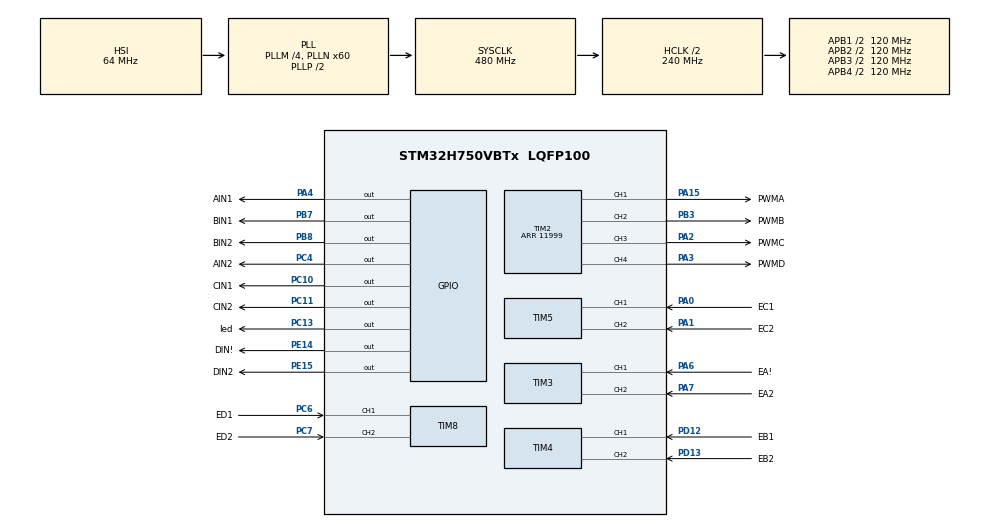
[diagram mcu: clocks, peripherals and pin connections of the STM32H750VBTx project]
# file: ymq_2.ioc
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CORTEX_M7.default_mode_Activation=1
Mcu.Family=STM32H7
Mcu.Name=STM32H750VBTx
Mcu.Package=LQFP100
NVIC.PriorityGroup=NVIC_PRIORITYGROUP_4
PA0.GPIO_Label=EC1
PA0.GPIO_PuPd=GPIO_PULLUP
PA0.Signal=S_TIM5_CH1
PA1.GPIO_Label=EC2
PA1.GPIO_PuPd=GPIO_PULLUP
PA1.Signal=S_TIM5_CH2
PA13\ (JTMS/SWDIO).Mode=Serial_Wire
PA13\ (JTMS/SWDIO).Signal=DEBUG_JTMS-SWDIO
PA14\ (JTCK/SWCLK).Mode=Serial_Wire
PA14\ (JTCK/SWCLK).Signal=DEBUG_JTCK-SWCLK
PA15\ (JTDI).GPIO_Label=PWMA
PA15\ (JTDI).Signal=S_TIM2_CH1_ETR
PA2.GPIO_Label=PWMC
PA2.Signal=S_TIM2_CH3
PA3.GPIO_Label=PWMD
PA3.Signal=S_TIM2_CH4
PA4.GPIO_Label=AIN1
PA4.Signal=GPIO_Output
PA6.GPIO_Label=EA\!
PA6.GPIO_PuPd=GPIO_PULLUP
PA6.Signal=S_TIM3_CH1
PA7.GPIO_Label=EA2
PA7.GPIO_PuPd=GPIO_PULLUP
PA7.Signal=S_TIM3_CH2
PB3\ (JTDO/TRACESWO).GPIO_Label=PWMB
PB3\ (JTDO/TRACESWO).Signal=S_TIM2_CH2
PB7.GPIO_Label=BIN1
PB7.Signal=GPIO_Output
PB8.GPIO_Label=BIN2
PB8.Signal=GPIO_Output
PC10.GPIO_Label=CIN1
PC10.Signal=GPIO_Output
PC11.GPIO_Label=CIN2
PC11.Signal=GPIO_Output
PC13.GPIO_Label=led
PC13.Signal=GPIO_Output
PC4.GPIO_Label=AIN2
PC4.Signal=GPIO_Output
PC6.GPIO_Label=ED1
PC6.GPIO_PuPd=GPIO_PULLUP
PC6.Signal=S_TIM8_CH1
PC7.GPIO_Label=ED2
PC7.GPIO_PuPd=GPIO_PULLUP
PC7.Signal=S_TIM8_CH2
PD12.GPIO_Label=EB1
PD12.GPIO_PuPd=GPIO_PULLUP
PD12.Signal=S_TIM4_CH1
PD13.GPIO_Label=EB2
PD13.GPIO_PuPd=GPIO_PULLUP
PD13.Signal=S_TIM4_CH2
PE14.GPIO_Label=DIN\!
PE14.Signal=GPIO_Output
PE15.GPIO_Label=DIN2
PE15.Signal=GPIO_Output
PH0-OSC_IN\ (PH0).Mode=HSE-External-Oscillator
PH0-OSC_IN\ (PH0).Signal=RCC_OSC_IN
PH1-OSC_OUT\ (PH1).Mode=HSE-External-Oscillator
PH1-OSC_OUT\ (PH1).Signal=RCC_OSC_OUT
ProjectManager.HeapSize=0x200
ProjectManager.StackSize=0x400
ProjectManager.TargetToolchain=MDK-ARM V5.32
RCC.ADCFreq_Value=129000000
RCC.APB1Freq_Value=120000000
RCC.APB2Freq_Value=120000000
RCC.APB3Freq_Value=120000000
RCC.APB4Freq_Value=120000000
RCC.CortexFreq_Value=480000000
RCC.D1PPRE=RCC_APB3_DIV2
RCC.D2PPRE1=RCC_APB1_DIV2
RCC.D2PPRE2=RCC_APB2_DIV2
RCC.D3PPRE=RCC_APB4_DIV2
RCC.DIVM1=4
RCC.DIVN1=60
RCC.HCLKFreq_Value=240000000
RCC.HPRE=RCC_HCLK_DIV2
RCC.HSE_VALUE=8000000
RCC.PLLFRACN=0
RCC.SYSCLKFreq_VALUE=480000000
RCC.SYSCLKSource=RCC_SYSCLKSOURCE_PLLCLK
RCC.USBFreq_Value=480000000
SH.S_TIM2_CH1_ETR.0=TIM2_CH1,PWM Generation1 CH1
SH.S_TIM2_CH2.0=TIM2_CH2,PWM Generation2 CH2
SH.S_TIM2_CH3.0=TIM2_CH3,PWM Generation3 CH3
SH.S_TIM2_CH4.0=TIM2_CH4,PWM Generation4 CH4
SH.S_TIM3_CH1.0=TIM3_CH1,Encoder_Interface
SH.S_TIM3_CH2.0=TIM3_CH2,Encoder_Interface
SH.S_TIM4_CH1.0=TIM4_CH1,Encoder_Interface
SH.S_TIM4_CH2.0=TIM4_CH2,Encoder_Interface
SH.S_TIM5_CH1.0=TIM5_CH1,Encoder_Interface
SH.S_TIM5_CH2.0=TIM5_CH2,Encoder_Interface
SH.S_TIM8_CH1.0=TIM8_CH1,Encoder_Interface
SH.S_TIM8_CH2.0=TIM8_CH2,Encoder_Interface
TIM2.Channel-PWM\ Generation1\ CH1=TIM_CHANNEL_1
TIM2.Channel-PWM\ Generation2\ CH2=TIM_CHANNEL_2
TIM2.Channel-PWM\ Generation3\ CH3=TIM_CHANNEL_3
TIM2.Channel-PWM\ Generation4\ CH4=TIM_CHANNEL_4
TIM2.Period=11999
TIM3.EncoderMode=TIM_ENCODERMODE_TI12
TIM3.IC1Filter=15
TIM3.IC2Filter=15
TIM4.EncoderMode=TIM_ENCODERMODE_TI12
TIM4.IC1Filter=15
TIM4.IC2Filter=15
TIM5.EncoderMode=TIM_ENCODERMODE_TI12
TIM5.IC1Filter=15
TIM5.IC2Filter=15
TIM8.EncoderMode=TIM_ENCODERMODE_TI12
TIM8.IC1Filter=15
TIM8.IC2Filter=15
VP_MEMORYMAP_VS_MEMORYMAP.Mode=CurAppReg
VP_TIM2_VS_ClockSourceINT.Mode=Internal
board=custom

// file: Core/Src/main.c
/* USER CODE BEGIN Header */
/**
  ******************************************************************************
  * @file           : main.c
  * @brief          : Main program body
  ******************************************************************************
  * @attention
  *
  * Copyright (c) 2026 STMicroelectronics.
  * All rights reserved.
  *
  * This software is licensed under terms that can be found in the LICENSE file
  * in the root directory of this software component.
  * If no LICENSE file comes with this software, it is provided AS-IS.
  *
  ******************************************************************************
  */
/* USER CODE END Header */
#include "main.h"
#include "memorymap.h"
#include "tim.h"
#include "gpio.h"

/* USER CODE BEGIN Includes */
#include "mecanum_motor.h"
#include "mecanum_pid.h"
#include "mecanum_kinematics.h"
/* USER CODE END Includes */

/* USER CODE BEGIN PV */
/* 编码器累计值（各轮，有符号） */
static int16_t g_encoder_acc[4]    = {0};
/* 每个控制周期编码器增量 */
static int16_t g_encoder_delta[4]  = {0};
/* 逆运动学输出：各轮目标增量 */
static int16_t g_encoder_target[4] = {0};
/* 里程计：{x(mm), y(mm), yaw(mrad), vx, vy, w} */
static int16_t g_odom[6]           = {0};
/* 目标速度：{vx(mm/s), vy(mm/s), w(mrad/s)} */
int16_t g_target_speed[3]          = {0};
/* USER CODE END PV */

void SystemClock_Config(void);
static void MPU_Config(void);
/* USER CODE BEGIN PFP */
static void MecanumControl_50Hz(void);
/* USER CODE END PFP */

int main(void)
{

  /* MPU Configuration--------------------------------------------------------*/
  MPU_Config();

  /* MCU Configuration--------------------------------------------------------*/

  /* Reset of all peripherals, Initializes the Flash interface and the Systick. */
  HAL_Init();

  /* Configure the system clock */
  SystemClock_Config();

  /* Initialize all configured peripherals */
  MX_GPIO_Init();
  MX_TIM2_Init();
  MX_TIM3_Init();
  MX_TIM4_Init();
  MX_TIM5_Init();
  MX_TIM8_Init();
  /* USER CODE BEGIN 2 */
  Motor_Init();
  Kinematics_Init();
g_target_speed[0] = -500;
  /* 启动编码器定时器，并立即将计数器置为中值，避免第一帧读出 -32768 导致猛冲 */
  HAL_TIM_Encoder_Start(&htim3, TIM_CHANNEL_ALL);
  HAL_TIM_Encoder_Start(&htim4, TIM_CHANNEL_ALL);
  HAL_TIM_Encoder_Start(&htim5, TIM_CHANNEL_ALL);
  HAL_TIM_Encoder_Start(&htim8, TIM_CHANNEL_ALL);
  __HAL_TIM_SET_COUNTER(&htim3, 32768);
  __HAL_TIM_SET_COUNTER(&htim4, 32768);
  __HAL_TIM_SET_COUNTER(&htim5, 32768);
  __HAL_TIM_SET_COUNTER(&htim8, 32768);
  /* USER CODE END 2 */

  /* Infinite loop */
  /* USER CODE BEGIN WHILE */
  uint32_t last_ctrl_tick = 0;   /* 50Hz 控制节拍 */
  uint32_t last_led_tick  = 0;   /* LED 闪烁节拍 */

  while (1)
  {
    /* USER CODE END WHILE */

    /* USER CODE BEGIN 3 */
    uint32_t now = HAL_GetTick();

    /* 50Hz 麦轮控制循环（每 20ms 执行一次） */
    if (now - last_ctrl_tick >= 20) {
      last_ctrl_tick = now;
      MecanumControl_50Hz();
    }

    /* LED 500ms 翻转闪烁（低电平亮，PC13）
     * 作为看门狗指示：LED 持续闪烁说明主循环未卡死 */
    if (now - last_led_tick >= 500) {
      last_led_tick = now;
      HAL_GPIO_TogglePin(led_GPIO_Port, led_Pin);
    }
  }
  /* USER CODE END 3 */
}

void SystemClock_Config(void)
{
  RCC_OscInitTypeDef RCC_OscInitStruct = {0};
  RCC_ClkInitTypeDef RCC_ClkInitStruct = {0};

  /** Supply configuration update enable
  */
  HAL_PWREx_ConfigSupply(PWR_LDO_SUPPLY);

  /** Configure the main internal regulator output voltage
  */
  __HAL_PWR_VOLTAGESCALING_CONFIG(PWR_REGULATOR_VOLTAGE_SCALE0);

  while(!__HAL_PWR_GET_FLAG(PWR_FLAG_VOSRDY)) {}

  /** Initializes the RCC Oscillators according to the specified parameters
  * in the RCC_OscInitTypeDef structure.
  */
  RCC_OscInitStruct.OscillatorType = RCC_OSCILLATORTYPE_HSI;
  RCC_OscInitStruct.HSIState = RCC_HSI_DIV1;
  RCC_OscInitStruct.HSICalibrationValue = RCC_HSICALIBRATION_DEFAULT;
  RCC_OscInitStruct.PLL.PLLState = RCC_PLL_ON;
  RCC_OscInitStruct.PLL.PLLSource = RCC_PLLSOURCE_HSI;
  RCC_OscInitStruct.PLL.PLLM = 4;
  RCC_OscInitStruct.PLL.PLLN = 60;
  RCC_OscInitStruct.PLL.PLLP = 2;
  RCC_OscInitStruct.PLL.PLLQ = 2;
  RCC_OscInitStruct.PLL.PLLR = 2;
  RCC_OscInitStruct.PLL.PLLRGE = RCC_PLL1VCIRANGE_3;
  RCC_OscInitStruct.PLL.PLLVCOSEL = RCC_PLL1VCOWIDE;
  RCC_OscInitStruct.PLL.PLLFRACN = 0;
  if (HAL_RCC_OscConfig(&RCC_OscInitStruct) != HAL_OK)
  {
    Error_Handler();
  }

  /** Initializes the CPU, AHB and APB buses clocks
  */
  RCC_ClkInitStruct.ClockType = RCC_CLOCKTYPE_HCLK|RCC_CLOCKTYPE_SYSCLK
                              |RCC_CLOCKTYPE_PCLK1|RCC_CLOCKTYPE_PCLK2
                              |RCC_CLOCKTYPE_D3PCLK1|RCC_CLOCKTYPE_D1PCLK1;
  RCC_ClkInitStruct.SYSCLKSource = RCC_SYSCLKSOURCE_PLLCLK;
  RCC_ClkInitStruct.SYSCLKDivider = RCC_SYSCLK_DIV1;
  RCC_ClkInitStruct.AHBCLKDivider = RCC_HCLK_DIV2;
  RCC_ClkInitStruct.APB3CLKDivider = RCC_APB3_DIV2;
  RCC_ClkInitStruct.APB1CLKDivider = RCC_APB1_DIV2;
  RCC_ClkInitStruct.APB2CLKDivider = RCC_APB2_DIV2;
  RCC_ClkInitStruct.APB4CLKDivider = RCC_APB4_DIV2;

  if (HAL_RCC_ClockConfig(&RCC_ClkInitStruct, FLASH_LATENCY_4) != HAL_OK)
  {
    Error_Handler();
  }
}

/* USER CODE BEGIN 4 */

/* ============================================================
 * 50Hz 麦克纳姆轮控制主函数
 * 流程：读编码器增量 → 正运动学 → 逆运动学 → PID → 设置电机
 * ============================================================ */
static void MecanumControl_50Hz(void)
{
    /* ============================================================
     * 裸机转向测试模式（TEST_OPEN_LOOP = 1）
     * 绕过 PID，直接给定固定 PWM，用于确认每路电机方向是否正确
     * 确认方向无误后将此宏改为 0，切回闭环 PID 模式
     * ============================================================ */
#define TEST_OPEN_LOOP  0

/* 裸机测试 PWM 值（范围 0 ~ 11999，建议从小值开始，如 2000~4000） */
#define TEST_PWM_VALUE  3000

#if TEST_OPEN_LOOP

    /* 直接输出固定 PWM，正值=正转，负值=反转
     * 麦轮向前运动时四路电机应全部朝同一方向转动（由安装方向决定）
     * 若某路方向反了，修改 mecanum_motor.h 中对应的 MOTOR_x_POLARITY */
    Motor_A_SetSpeed( TEST_PWM_VALUE);
    Motor_B_SetSpeed( TEST_PWM_VALUE);
    Motor_C_SetSpeed( TEST_PWM_VALUE);
    Motor_D_SetSpeed( TEST_PWM_VALUE);

#else  /* 闭环 PID 模式 */

    /* 1. 读取编码器增量（计数器中值法，避免溢出）
     *    TIM3=电机A, TIM4=电机B, TIM5=电机C, TIM8=电机D */
    #define ENC_MID     32768u
    /* 单帧最大合理增量：500mm/s对应约26脉冲/帧，限幅设为150（约6倍余量）
     * 超过此值视为干扰帧，保持上一帧的值不更新 */
    #define ENC_MAX_DELTA  150

    int16_t raw_delta[4];
    raw_delta[0] =  (int16_t)(__HAL_TIM_GET_COUNTER(&htim3) - ENC_MID);  /* A 正向 */
    raw_delta[1] =  (int16_t)(__HAL_TIM_GET_COUNTER(&htim4) - ENC_MID);  /* B */
    raw_delta[2] = -(int16_t)(__HAL_TIM_GET_COUNTER(&htim5) - ENC_MID);  /* C 取反 */
    raw_delta[3] =  (int16_t)(__HAL_TIM_GET_COUNTER(&htim8) - ENC_MID);  /* D */

    __HAL_TIM_SET_COUNTER(&htim3, ENC_MID);
    __HAL_TIM_SET_COUNTER(&htim4, ENC_MID);
    __HAL_TIM_SET_COUNTER(&htim5, ENC_MID);
    __HAL_TIM_SET_COUNTER(&htim8, ENC_MID);

    /* 限幅过滤：异常跳变帧用上一帧值替代，避免 PID 因干扰脉冲失控 */
    for (int i = 0; i < 4; i++) {
        if (raw_delta[i] >  ENC_MAX_DELTA) raw_delta[i] =  ENC_MAX_DELTA;
        if (raw_delta[i] < -ENC_MAX_DELTA) raw_delta[i] = -ENC_MAX_DELTA;
        g_encoder_delta[i] = raw_delta[i];
    }

    /* 2. 累计编码器值（用于正运动学里程计） */
    for (int i = 0; i < 4; i++) {
        g_encoder_acc[i] += g_encoder_delta[i];
    }

    /* 3. 正运动学：编码器累计 → 里程计 */
    Kinematics_Forward(g_encoder_acc, g_odom);

    /* 4. 逆运动学：目标速度 → 各轮目标增量 */
    Kinematics_Inverse(g_target_speed, g_encoder_target);

    /* 5. PID 速度控制 */
    int32_t pwm_a = PID_MotorA(g_encoder_target[0], g_encoder_delta[0]);
    int32_t pwm_b = PID_MotorB(g_encoder_target[1], g_encoder_delta[1]);
    int32_t pwm_c = PID_MotorC(g_encoder_target[2], g_encoder_delta[2]);
    int32_t pwm_d = PID_MotorD(g_encoder_target[3], g_encoder_delta[3]);

    /* 6. 输出到电机（符号参考原例程，调试时若方向错误修改此处正负号） */
    Motor_A_SetSpeed( pwm_a);
    Motor_B_SetSpeed( pwm_b);
    Motor_C_SetSpeed( pwm_c);
    Motor_D_SetSpeed( pwm_d);

#endif /* TEST_OPEN_LOOP */
}

/* USER CODE END 4 */

 /* MPU Configuration */

void MPU_Config(void)
{
  MPU_Region_InitTypeDef MPU_InitStruct = {0};

  /* Disables the MPU */
  HAL_MPU_Disable();

  /** Initializes and configures the Region and the memory to be protected
  */
  MPU_InitStruct.Enable = MPU_REGION_ENABLE;
  MPU_InitStruct.Number = MPU_REGION_NUMBER0;
  MPU_InitStruct.BaseAddress = 0x0;
  MPU_InitStruct.Size = MPU_REGION_SIZE_4GB;
  MPU_InitStruct.SubRegionDisable = 0x87;
  MPU_InitStruct.TypeExtField = MPU_TEX_LEVEL0;
  MPU_InitStruct.AccessPermission = MPU_REGION_NO_ACCESS;
  MPU_InitStruct.DisableExec = MPU_INSTRUCTION_ACCESS_DISABLE;
  MPU_InitStruct.IsShareable = MPU_ACCESS_SHAREABLE;
  MPU_InitStruct.IsCacheable = MPU_ACCESS_NOT_CACHEABLE;
  MPU_InitStruct.IsBufferable = MPU_ACCESS_NOT_BUFFERABLE;

  HAL_MPU_ConfigRegion(&MPU_InitStruct);
  /* Enables the MPU */
  HAL_MPU_Enable(MPU_PRIVILEGED_DEFAULT);

}

void Error_Handler(void)
{
  __disable_irq();
  while (1)
  {
  }
}
